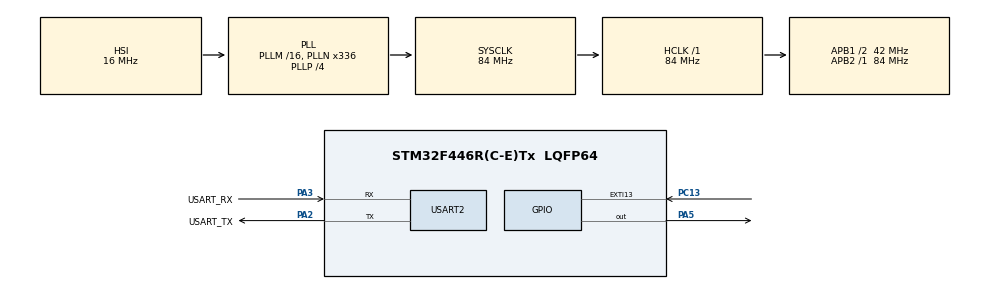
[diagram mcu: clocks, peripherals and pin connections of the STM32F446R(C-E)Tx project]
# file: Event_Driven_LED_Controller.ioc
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Mcu.Family=STM32F4
Mcu.Name=STM32F446R(C-E)Tx
Mcu.Package=LQFP64
NVIC.EXTI15_10_IRQn=true\:0\:0\:false\:false\:true\:true\:true\:true
NVIC.PriorityGroup=NVIC_PRIORITYGROUP_0
NVIC.TIM2_IRQn=true\:0\:0\:false\:false\:true\:true\:true\:true
PA13.GPIO_Label=TMS
PA13.Mode=Serial_Wire
PA13.Signal=SYS_JTMS-SWDIO
PA14.GPIO_Label=TCK
PA14.Mode=Serial_Wire
PA14.Signal=SYS_JTCK-SWCLK
PA2.GPIO_Label=USART_TX
PA2.Mode=Asynchronous
PA2.Signal=USART2_TX
PA3.GPIO_Label=USART_RX
PA3.Mode=Asynchronous
PA3.Signal=USART2_RX
PA5.Signal=GPIO_Output
PB3.GPIO_Label=SWO
PB3.Signal=SYS_JTDO-SWO
PC13.GPIO_ModeDefaultEXTI=GPIO_MODE_IT_FALLING
PC13.Signal=GPXTI13
PC14-OSC32_IN.Mode=LSE-External-Oscillator
PC14-OSC32_IN.Signal=RCC_OSC32_IN
PC15-OSC32_OUT.Mode=LSE-External-Oscillator
PC15-OSC32_OUT.Signal=RCC_OSC32_OUT
PH0-OSC_IN.Mode=HSE-External-Oscillator
PH0-OSC_IN.Signal=RCC_OSC_IN
PH1-OSC_OUT.Mode=HSE-External-Oscillator
PH1-OSC_OUT.Signal=RCC_OSC_OUT
ProjectManager.HeapSize=0x200
ProjectManager.StackSize=0x400
ProjectManager.TargetToolchain=STM32CubeIDE
RCC.48MHZClocksFreq_Value=84000000
RCC.AHBFreq_Value=84000000
RCC.APB1CLKDivider=RCC_HCLK_DIV2
RCC.APB1Freq_Value=42000000
RCC.APB1TimFreq_Value=84000000
RCC.APB2Freq_Value=84000000
RCC.APB2TimFreq_Value=84000000
RCC.CortexFreq_Value=84000000
RCC.FLatency-AdvancedSettings=FLASH_LATENCY_2
RCC.HCLKFreq_Value=84000000
RCC.HSE_VALUE=8000000
RCC.HSI_VALUE=16000000
RCC.PLLN=336
RCC.PLLP=RCC_PLLP_DIV4
RCC.SYSCLKFreq_VALUE=84000000
RCC.SYSCLKSource=RCC_SYSCLKSOURCE_PLLCLK
RCC.USBFreq_Value=168000000
RCC.VCOOutputFreq_Value=336000000
TIM2.Period=999
TIM2.Prescaler=8399
USART2.VirtualMode=VM_ASYNC
VP_TIM2_VS_ClockSourceINT.Mode=Internal
board=NUCLEO-F446RE

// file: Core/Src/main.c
/* USER CODE BEGIN Header */
/**
  ******************************************************************************
  * @file           : main.c
  * @brief          : Main program body
  ******************************************************************************
  * @attention
  *
  * Copyright (c) 2026 STMicroelectronics.
  * All rights reserved.
  *
  * This software is licensed under terms that can be found in the LICENSE file
  * in the root directory of this software component.
  * If no LICENSE file comes with this software, it is provided AS-IS.
  *
  ******************************************************************************
  */
/* USER CODE END Header */
#include "main.h"

TIM_HandleTypeDef htim2;

UART_HandleTypeDef huart2;

/* USER CODE BEGIN PV */
typedef enum{
	MODE_OFF=0,
	MODE_ON,
	MODE_BLINK_SLOW,
	MODE_BLINK_FAST,
}LedMode_t;

volatile LedMode_t currentMode=MODE_OFF;
static uint32_t blinkCounter=0;
static uint8_t ledState=0;
/* USER CODE END PV */

void SystemClock_Config(void);
static void MX_GPIO_Init(void);
static void MX_TIM2_Init(void);
static void MX_USART2_UART_Init(void);

int main(void)
{

  /* MCU Configuration--------------------------------------------------------*/

  /* Reset of all peripherals, Initializes the Flash interface and the Systick. */
  HAL_Init();

  /* Configure the system clock */
  SystemClock_Config();

  /* Initialize all configured peripherals */
  MX_GPIO_Init();
  MX_TIM2_Init();
  MX_USART2_UART_Init();
  /* USER CODE BEGIN 2 */
  HAL_TIM_Base_Start_IT(&htim2);

  /* USER CODE END 2 */

  /* Infinite loop */
  while (1)
  {

  }
}

void SystemClock_Config(void)
{
  RCC_OscInitTypeDef RCC_OscInitStruct = {0};
  RCC_ClkInitTypeDef RCC_ClkInitStruct = {0};

  /** Configure the main internal regulator output voltage
  */
  __HAL_RCC_PWR_CLK_ENABLE();
  __HAL_PWR_VOLTAGESCALING_CONFIG(PWR_REGULATOR_VOLTAGE_SCALE3);

  /** Initializes the RCC Oscillators according to the specified parameters
  * in the RCC_OscInitTypeDef structure.
  */
  RCC_OscInitStruct.OscillatorType = RCC_OSCILLATORTYPE_HSI;
  RCC_OscInitStruct.HSIState = RCC_HSI_ON;
  RCC_OscInitStruct.HSICalibrationValue = RCC_HSICALIBRATION_DEFAULT;
  RCC_OscInitStruct.PLL.PLLState = RCC_PLL_ON;
  RCC_OscInitStruct.PLL.PLLSource = RCC_PLLSOURCE_HSI;
  RCC_OscInitStruct.PLL.PLLM = 16;
  RCC_OscInitStruct.PLL.PLLN = 336;
  RCC_OscInitStruct.PLL.PLLP = RCC_PLLP_DIV4;
  RCC_OscInitStruct.PLL.PLLQ = 2;
  RCC_OscInitStruct.PLL.PLLR = 2;
  if (HAL_RCC_OscConfig(&RCC_OscInitStruct) != HAL_OK)
  {
    Error_Handler();
  }

  /** Initializes the CPU, AHB and APB buses clocks
  */
  RCC_ClkInitStruct.ClockType = RCC_CLOCKTYPE_HCLK|RCC_CLOCKTYPE_SYSCLK
                              |RCC_CLOCKTYPE_PCLK1|RCC_CLOCKTYPE_PCLK2;
  RCC_ClkInitStruct.SYSCLKSource = RCC_SYSCLKSOURCE_PLLCLK;
  RCC_ClkInitStruct.AHBCLKDivider = RCC_SYSCLK_DIV1;
  RCC_ClkInitStruct.APB1CLKDivider = RCC_HCLK_DIV2;
  RCC_ClkInitStruct.APB2CLKDivider = RCC_HCLK_DIV1;

  if (HAL_RCC_ClockConfig(&RCC_ClkInitStruct, FLASH_LATENCY_2) != HAL_OK)
  {
    Error_Handler();
  }
}

static void MX_TIM2_Init(void)
{

  TIM_ClockConfigTypeDef sClockSourceConfig = {0};
  TIM_MasterConfigTypeDef sMasterConfig = {0};

  htim2.Instance = TIM2;
  htim2.Init.Prescaler = 8399;
  htim2.Init.CounterMode = TIM_COUNTERMODE_UP;
  htim2.Init.Period = 999;
  htim2.Init.ClockDivision = TIM_CLOCKDIVISION_DIV1;
  htim2.Init.AutoReloadPreload = TIM_AUTORELOAD_PRELOAD_DISABLE;
  if (HAL_TIM_Base_Init(&htim2) != HAL_OK)
  {
    Error_Handler();
  }
  sClockSourceConfig.ClockSource = TIM_CLOCKSOURCE_INTERNAL;
  if (HAL_TIM_ConfigClockSource(&htim2, &sClockSourceConfig) != HAL_OK)
  {
    Error_Handler();
  }
  sMasterConfig.MasterOutputTrigger = TIM_TRGO_RESET;
  sMasterConfig.MasterSlaveMode = TIM_MASTERSLAVEMODE_DISABLE;
  if (HAL_TIMEx_MasterConfigSynchronization(&htim2, &sMasterConfig) != HAL_OK)
  {
    Error_Handler();
  }

}

static void MX_USART2_UART_Init(void)
{

  huart2.Instance = USART2;
  huart2.Init.BaudRate = 115200;
  huart2.Init.WordLength = UART_WORDLENGTH_8B;
  huart2.Init.StopBits = UART_STOPBITS_1;
  huart2.Init.Parity = UART_PARITY_NONE;
  huart2.Init.Mode = UART_MODE_TX_RX;
  huart2.Init.HwFlowCtl = UART_HWCONTROL_NONE;
  huart2.Init.OverSampling = UART_OVERSAMPLING_16;
  if (HAL_UART_Init(&huart2) != HAL_OK)
  {
    Error_Handler();
  }

}

static void MX_GPIO_Init(void)
{
  GPIO_InitTypeDef GPIO_InitStruct = {0};

  /* GPIO Ports Clock Enable */
  __HAL_RCC_GPIOC_CLK_ENABLE();
  __HAL_RCC_GPIOH_CLK_ENABLE();
  __HAL_RCC_GPIOA_CLK_ENABLE();
  __HAL_RCC_GPIOB_CLK_ENABLE();

  /*Configure GPIO pin Output Level */
  HAL_GPIO_WritePin(GPIOA, GPIO_PIN_5, GPIO_PIN_RESET);

  /*Configure GPIO pin : PC13 */
  GPIO_InitStruct.Pin = GPIO_PIN_13;
  GPIO_InitStruct.Mode = GPIO_MODE_IT_FALLING;
  GPIO_InitStruct.Pull = GPIO_NOPULL;
  HAL_GPIO_Init(GPIOC, &GPIO_InitStruct);

  /*Configure GPIO pin : PA5 */
  GPIO_InitStruct.Pin = GPIO_PIN_5;
  GPIO_InitStruct.Mode = GPIO_MODE_OUTPUT_PP;
  GPIO_InitStruct.Pull = GPIO_NOPULL;
  GPIO_InitStruct.Speed = GPIO_SPEED_FREQ_LOW;
  HAL_GPIO_Init(GPIOA, &GPIO_InitStruct);

  /* EXTI interrupt init*/
  HAL_NVIC_SetPriority(EXTI15_10_IRQn, 0, 0);
  HAL_NVIC_EnableIRQ(EXTI15_10_IRQn);

}

/* USER CODE BEGIN 4 */
static void LED_Set(uint8_t state)
{
	if(state)
	{
		HAL_GPIO_WritePin(GPIOA, GPIO_PIN_5, GPIO_PIN_SET);
	}
	else
	{
		HAL_GPIO_WritePin(GPIOA, GPIO_PIN_5, GPIO_PIN_RESET);
	}
}

void HAL_GPIO_EXTI_Callback(uint16_t GPIO_Pin)
{
	if(GPIO_Pin == TMS_Pin)
	{
		switch(currentMode)
		{
		case MODE_OFF:
		currentMode = MODE_ON;
		break;

		case MODE_ON:
		currentMode = MODE_BLINK_SLOW;
		break;

		case MODE_BLINK_SLOW:
		currentMode = MODE_BLINK_FAST;
		break;

		case MODE_BLINK_FAST:
		currentMode = MODE_OFF;
		break;

		default:
		currentMode = MODE_OFF;
		break;
		}
	}
}

void HAL_TIM_PeriodElapsedCallback(TIM_HandleTypeDef *htim)
{
	if(htim->Instance == TIM2)
	{
		switch(currentMode)
		{
		case MODE_OFF:
			ledState=0;
			blinkCounter=0;
			LED_Set(ledState);
			break;

		case MODE_ON:
			ledState=1;
			blinkCounter=0;
			LED_Set(ledState);
			break;

		case MODE_BLINK_SLOW:
			blinkCounter++;
			if(blinkCounter>=10)
			{
				blinkCounter=0;
				ledState ^= 1;
				LED_Set(ledState);
			}
			break;

		case MODE_BLINK_FAST:
			blinkCounter++;
			if(blinkCounter>=2)
			{
				blinkCounter=0;
				ledState ^=1;
				LED_Set(ledState);
			}
			break;

		default:
			ledState=0;
			blinkCounter=0;
			currentMode=MODE_OFF;
			LED_Set(ledState);
			break;
		}
	}

}

/* USER CODE END 4 */

void Error_Handler(void)
{
  __disable_irq();
  while (1)
  {
  }
}
